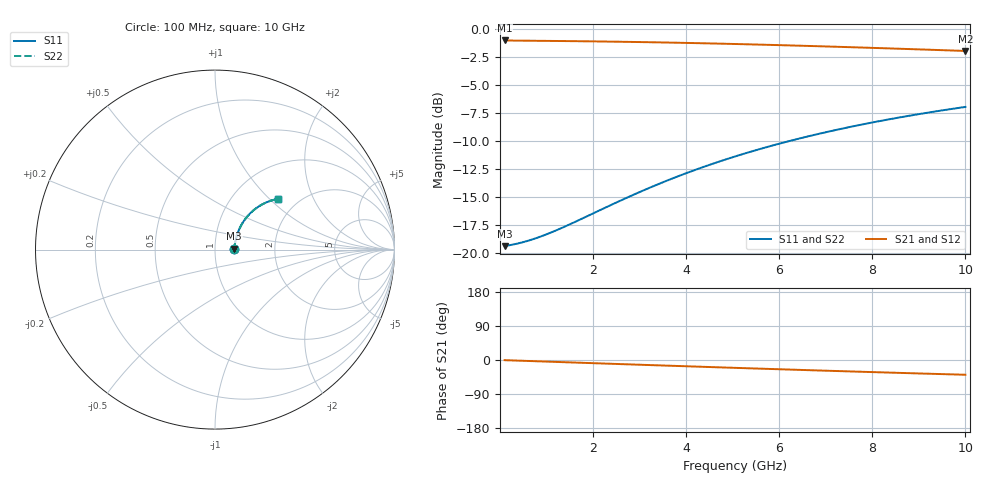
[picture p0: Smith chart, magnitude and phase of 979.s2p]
# Hz S RI R 50.00
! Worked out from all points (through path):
!   100 points, 100 MHz to 10 GHz, reference 50 ohm
!   highest |S21| = -0.98 dB at 100 MHz (marker M1); lowest = -1.9 dB at 10 GHz (marker M2)
!   group delay of S21, straight-line fit = 10.9 ps
!   lowest |S11| = -19.4 dB at 100 MHz (marker M3), VSWR 1.24, Z = 62 + j0.547 ohm
!   |S11| at or under -10 dB: start of sweep to 6.211 GHz
!   |S22| runs from -19.4 to -6.9 dB; largest |S21 - S12| = 0
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1e8  0.1069 0.00436  0.8931 -0.00655  0.8931 -0.00655  0.1069 0.00436
3e8  0.1083 0.013  0.8917 -0.0196  0.8917 -0.0196  0.1083 0.013
5e8  0.1095 0.0217  0.8905 -0.0326  0.8905 -0.0326  0.1095 0.0217
8e8  0.1115 0.0346  0.8884 -0.0521  0.8884 -0.0521  0.1115 0.0346
1e9  0.113 0.0431  0.8867 -0.065  0.8867 -0.065  0.113 0.0431
1.2e9  0.1147 0.0515  0.8849 -0.0778  0.8849 -0.0778  0.1147 0.0515
1.5e9  0.1177 0.0641  0.8817 -0.0969  0.8817 -0.0969  0.1177 0.0641
1.8e9  0.1212 0.0765  0.878 -0.1159  0.878 -0.1159  0.1212 0.0765
2.7e9  0.1346 0.1125  0.8636 -0.1716  0.8636 -0.1716  0.1346 0.1125
3.1e9  0.1419 0.1277  0.8557 -0.1956  0.8557 -0.1956  0.1419 0.1277
3.4e9  0.1479 0.1388  0.8492 -0.2133  0.8492 -0.2133  0.1479 0.1388
3.8e9  0.1565 0.1531  0.8398 -0.2364  0.8398 -0.2364  0.1565 0.1531
4.2e9  0.1659 0.1667  0.8296 -0.2588  0.8296 -0.2588  0.1659 0.1667
4.6e9  0.176 0.1798  0.8186 -0.2807  0.8186 -0.2807  0.176 0.1798
5.1e9  0.1894 0.1951  0.8039 -0.307  0.8039 -0.307  0.1894 0.1951
5.5e9  0.2008 0.2065  0.7914 -0.3273  0.7914 -0.3273  0.2008 0.2065
5.9e9  0.2127 0.2172  0.7784 -0.3468  0.7784 -0.3468  0.2127 0.2172
6.7e9  0.2377 0.2363  0.7507 -0.3837  0.7507 -0.3837  0.2377 0.2363
7.5e9  0.2641 0.2522  0.7214 -0.4175  0.7214 -0.4175  0.2641 0.2522
8.4e9  0.2948 0.2664  0.6869 -0.4519  0.6869 -0.4519  0.2948 0.2664
9.2e9  0.3225 0.2758  0.6554 -0.4793  0.6554 -0.4793  0.3225 0.2758
1e10  0.3504 0.2822  0.6233 -0.5038  0.6233 -0.5038  0.3504 0.2822
